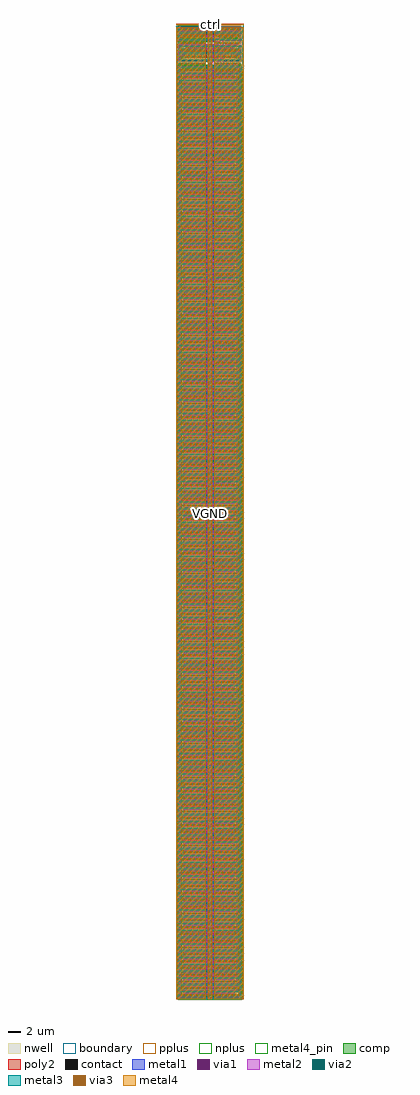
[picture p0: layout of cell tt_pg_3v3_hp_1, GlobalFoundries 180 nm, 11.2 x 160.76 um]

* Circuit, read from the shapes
.subckt tt_pg_3v3_hp_1 GPWR VGND VPWR ctrl
XM1 n1 n2 VGND VGND nfet_03v3 w=0.99u l=0.6u
XM2 n3 n2 n1 VGND nfet_03v3 w=0.99u l=0.6u
XM3 n4 n2 n3 VGND nfet_03v3 w=0.99u l=0.6u
XM4 GPWR n2 n4 VGND nfet_03v3 w=0.99u l=0.6u
XM5 n5 n2 GPWR VGND nfet_03v3 w=0.99u l=0.6u
XM6 n6 n2 n5 VGND nfet_03v3 w=0.99u l=0.6u
XM7 VGND ctrl n2 VGND nfet_03v3 w=2.75u l=0.28u
XM8 n7 n2 n6 VGND nfet_03v3 w=0.99u l=0.6u
XM9 VGND n2 n7 VGND nfet_03v3 w=0.99u l=0.6u
XM10 VPWR n2 GPWR VPWR pfet_03v3 w=8.5u l=0.28u m=190
XM11 VPWR ctrl n2 VPWR pfet_03v3 w=5.17u l=0.28u
.ends

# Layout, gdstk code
import gdstk
lib = gdstk.Library(unit=1e-6, precision=1e-09)
def R(c, l, rs):  # rectangles x0, y0, x1, y1
    for r in rs: c.add(gdstk.rectangle(r[:2], r[2:], *l))
def A(c, l, x, y, w, h, nx, ny, dx, dy):  # array of equal rectangles
    R(c, l, [(x+i*dx, y+j*dy, x+i*dx+w, y+j*dy+h) for i in range(nx) for j in range(ny)])
def P(c, l, *ps):  # polygons
    for p in ps: c.add(gdstk.Polygon(p, *l))
boundary = (0, 0)
nwell = (21, 0)
comp = (22, 0)
poly2 = (30, 0)
pplus = (31, 0)
nplus = (32, 0)
contact = (33, 0)
metal1 = (34, 0)
via1 = (35, 0)
metal2 = (36, 0)
via2 = (38, 0)
via3 = (40, 0)
metal3 = (42, 0)
metal4 = (46, 0)
metal4_pin = (46, 10)

tt_pg_3v3_hp_1 = lib.new_cell('tt_pg_3v3_hp_1')
R(tt_pg_3v3_hp_1, boundary, [(0,0,11.2,160.72)])
R(tt_pg_3v3_hp_1, nwell, [(0.35,0,10.85,153.88), (0.35,157.685,6.81,160.37)])
R(tt_pg_3v3_hp_1, comp, [(0.47,0.12,10.73,0.48), (0.47,0.48,0.83,153.4), (10.37,0.48,10.73,153.4), (1.21,0.76,9.71,153.12), (0.47,153.4,10.73,153.76), (0.47,154.455,10.73,154.815), (0.47,154.815,0.83,156.845), (10.37,154.815,10.73,156.845), (1.11,155.145,1.47,155.195), (9.73,155.145,10.09,155.195), (1.11,155.195,10.09,156.185), (1.11,156.185,1.47,156.515), (9.73,156.185,10.09,156.515), (0.47,156.845,10.73,157.205), (0.47,157.805,6.38,158.165), (7.24,157.805,10.73,158.165), (0.47,158.165,0.83,159.885), (10.37,158.165,10.73,159.885), (1.21,158.445,6.38,159.605), (7.24,158.445,9.99,159.605), (0.47,159.885,6.38,160.245), (7.24,159.885,10.73,160.245)])
A(tt_pg_3v3_hp_1, poly2, 0.99, 1.2, 9.22, 0.28, 1, 190, 0, 0.8)
A(tt_pg_3v3_hp_1, poly2, 9.85, 1.48, 0.36, 0.52, 1, 189, 0, 0.8)
R(tt_pg_3v3_hp_1, poly2, [(1.585,154.975,2.185,156.325), (2.535,154.975,3.135,156.325), (3.535,154.975,4.135,156.325), (4.485,154.975,5.085,156.325), (6.115,154.975,6.715,156.325), (7.065,154.975,7.665,156.325), (8.065,154.975,8.665,156.325), (9.015,154.975,9.615,156.325), (1.585,156.325,5.085,156.685), (6.115,156.325,9.615,156.685), (6.63,158.61,6.99,158.885), (0.99,158.885,10.21,159.165), (6.63,159.165,6.99,159.44)])
R(tt_pg_3v3_hp_1, pplus, [(1.05,0.6,9.87,0.97), (0.98,0.97,9.94,152.91), (1.05,152.91,9.87,153.28), (0.975,154.425,10.225,154.435), (0.45,154.435,10.75,154.845), (0.45,154.845,0.86,154.87), (10.34,154.845,10.75,154.87), (0.44,154.87,0.86,156.79), (10.34,154.87,10.76,156.79), (0.45,156.79,0.86,156.815), (10.34,156.79,10.75,156.815), (0.45,156.815,10.75,157.225), (0.975,157.225,10.225,157.235), (7.21,157.775,10.225,157.785), (7.21,157.785,10.75,158.195), (10.34,158.195,10.75,158.22), (10.34,158.22,10.76,159.83), (1.05,158.285,6.54,158.655), (0.98,158.655,6.61,159.395), (1.05,159.395,6.54,159.765), (10.34,159.83,10.75,159.855), (7.21,159.855,10.75,160.265), (7.21,160.265,10.225,160.275)])
R(tt_pg_3v3_hp_1, nplus, [(0.31,-0.04,10.89,0.59), (0.31,0.59,0.94,153.29), (10.26,0.59,10.89,153.29), (0.31,153.29,10.89,153.92), (1.355,154.965,5.315,154.985), (5.885,154.965,9.845,154.985), (0.95,154.985,5.315,155.035), (5.885,154.985,10.25,155.035), (0.95,155.035,10.25,156.345), (0.95,156.345,5.315,156.415), (5.885,156.345,10.25,156.415), (0.95,156.415,1.63,156.675), (9.57,156.415,10.25,156.675), (0.31,157.645,6.54,158.275), (0.31,158.275,0.94,159.78), (7.08,158.285,10.15,158.655), (7.01,158.655,10.22,159.395), (7.08,159.395,10.15,159.765), (0.31,159.78,6.54,160.405)])
A(tt_pg_3v3_hp_1, contact, 1.025, 0.19, 0.22, 0.22, 20, 2, 0.47, 153.28)
A(tt_pg_3v3_hp_1, contact, 0.54, 0.69, 0.22, 0.22, 1, 325, 0, 0.47)
A(tt_pg_3v3_hp_1, contact, 10.44, 0.69, 0.22, 0.22, 1, 325, 0, 0.47)
A(tt_pg_3v3_hp_1, contact, 1.32, 0.83, 0.22, 0.22, 18, 191, 0.47, 0.8)
A(tt_pg_3v3_hp_1, contact, 9.92, 1.395, 0.22, 0.22, 1, 322, 0, 0.47)
A(tt_pg_3v3_hp_1, contact, 1.26, 154.525, 0.22, 0.22, 19, 2, 0.47, 2.39)
A(tt_pg_3v3_hp_1, contact, 0.54, 155.015, 0.22, 0.22, 1, 4, 0, 0.47)
A(tt_pg_3v3_hp_1, contact, 10.44, 155.015, 0.22, 0.22, 1, 4, 0, 0.47)
A(tt_pg_3v3_hp_1, contact, 1.18, 155.235, 0.22, 0.22, 1, 3, 0, 0.47)
A(tt_pg_3v3_hp_1, contact, 9.8, 155.235, 0.22, 0.22, 1, 3, 0, 0.47)
A(tt_pg_3v3_hp_1, contact, 1.815, 156.395, 0.22, 0.22, 7, 1, 0.47, 0)
A(tt_pg_3v3_hp_1, contact, 6.345, 156.395, 0.22, 0.22, 7, 1, 0.47, 0)
A(tt_pg_3v3_hp_1, contact, 1.235, 157.875, 0.22, 0.22, 11, 2, 0.47, 2.08)
A(tt_pg_3v3_hp_1, contact, 7.43, 157.875, 0.22, 0.22, 6, 2, 0.47, 2.08)
A(tt_pg_3v3_hp_1, contact, 0.54, 158.445, 0.22, 0.22, 1, 3, 0, 0.47)
A(tt_pg_3v3_hp_1, contact, 10.44, 158.445, 0.22, 0.22, 1, 3, 0, 0.47)
A(tt_pg_3v3_hp_1, contact, 1.335, 158.515, 0.22, 0.22, 11, 2, 0.47, 0.8)
A(tt_pg_3v3_hp_1, contact, 7.33, 158.515, 0.22, 0.22, 6, 2, 0.47, 0.8)
R(tt_pg_3v3_hp_1, contact, [(5.255,155.345,5.475,155.565), (5.725,155.345,5.945,155.565), (5.255,155.815,5.475,156.035), (5.725,155.815,5.945,156.035), (6.7,158.68,6.92,158.9), (6.7,159.15,6.92,159.37)])
A(tt_pg_3v3_hp_1, metal1, 1.22, 0.825, 8.415, 0.23, 1, 191, 0, 0.8)
R(tt_pg_3v3_hp_1, metal1, [(0.52,0.185,10.665,0.415), (0.52,0.415,0.78,153.465), (10.435,0.415,10.665,153.465), (5.595,0.81,9.615,0.825), (5.595,1.055,9.615,1.07), (9.915,1.29,10.175,152.59), (1.24,1.61,5.26,1.625), (1.24,1.855,5.26,1.87), (5.595,2.41,9.615,2.425), (5.595,2.655,9.615,2.67), (1.24,3.21,5.26,3.225), (1.24,3.455,5.26,3.47), (5.595,4.01,9.615,4.025), (5.595,4.255,9.615,4.27), (1.24,4.81,5.26,4.825), (1.24,5.055,5.26,5.07), (5.595,5.61,9.615,5.625), (5.595,5.855,9.615,5.87), (1.24,6.41,5.26,6.425), (1.24,6.655,5.26,6.67), (5.595,7.21,9.615,7.225), (5.595,7.455,9.615,7.47), (1.24,8.01,5.26,8.025), (1.24,8.255,5.26,8.27), (5.595,8.81,9.615,8.825), (5.595,9.055,9.615,9.07), (1.24,9.61,5.26,9.625), (1.24,9.855,5.26,9.87), (5.595,10.41,9.615,10.425), (5.595,10.655,9.615,10.67), (1.24,11.21,5.26,11.225), (1.24,11.455,5.26,11.47), (5.595,12.01,9.615,12.025), (5.595,12.255,9.615,12.27), (1.24,12.81,5.26,12.825), (1.24,13.055,5.26,13.07), (5.595,13.61,9.615,13.625), (5.595,13.855,9.615,13.87), (1.24,14.41,5.26,14.425), (1.24,14.655,5.26,14.67), (5.595,15.21,9.615,15.225), (5.595,15.455,9.615,15.47), (1.24,16.01,5.26,16.025), (1.24,16.255,5.26,16.27), (5.595,16.81,9.615,16.825), (5.595,17.055,9.615,17.07), (1.24,17.61,5.26,17.625), (1.24,17.855,5.26,17.87), (5.595,18.41,9.615,18.425), (5.595,18.655,9.615,18.67), (1.24,19.21,5.26,19.225), (1.24,19.455,5.26,19.47), (5.595,20.01,9.615,20.025), (5.595,20.255,9.615,20.27), (1.24,20.81,5.26,20.825), (1.24,21.055,5.26,21.07), (5.595,21.61,9.615,21.625), (5.595,21.855,9.615,21.87), (1.24,22.41,5.26,22.425), (1.24,22.655,5.26,22.67), (5.595,23.21,9.615,23.225), (5.595,23.455,9.615,23.47), (1.24,24.01,5.26,24.025), (1.24,24.255,5.26,24.27), (5.595,24.81,9.615,24.825), (5.595,25.055,9.615,25.07), (1.24,25.61,5.26,25.625), (1.24,25.855,5.26,25.87), (5.595,26.41,9.615,26.425), (5.595,26.655,9.615,26.67), (1.24,27.21,5.26,27.225), (1.24,27.455,5.26,27.47), (5.595,28.01,9.615,28.025), (5.595,28.255,9.615,28.27), (1.24,28.81,5.26,28.825), (1.24,29.055,5.26,29.07), (5.595,29.61,9.615,29.625), (5.595,29.855,9.615,29.87), (1.24,30.41,5.26,30.425), (1.24,30.655,5.26,30.67), (5.595,31.21,9.615,31.225), (5.595,31.455,9.615,31.47), (1.24,32.01,5.26,32.025), (1.24,32.255,5.26,32.27), (5.595,32.81,9.615,32.825), (5.595,33.055,9.615,33.07), (1.24,33.61,5.26,33.625), (1.24,33.855,5.26,33.87), (5.595,34.41,9.615,34.425), (5.595,34.655,9.615,34.67), (1.24,35.21,5.26,35.225), (1.24,35.455,5.26,35.47), (5.595,36.01,9.615,36.025), (5.595,36.255,9.615,36.27), (1.24,36.81,5.26,36.825), (1.24,37.055,5.26,37.07), (5.595,37.61,9.615,37.625), (5.595,37.855,9.615,37.87), (1.24,38.41,5.26,38.425), (1.24,38.655,5.26,38.67), (5.595,39.21,9.615,39.225), (5.595,39.455,9.615,39.47), (1.24,40.01,5.26,40.025), (1.24,40.255,5.26,40.27), (5.595,40.81,9.615,40.825), (5.595,41.055,9.615,41.07), (1.24,41.61,5.26,41.625), (1.24,41.855,5.26,41.87), (5.595,42.41,9.615,42.425), (5.595,42.655,9.615,42.67), (1.24,43.21,5.26,43.225), (1.24,43.455,5.26,43.47), (5.595,44.01,9.615,44.025), (5.595,44.255,9.615,44.27), (1.24,44.81,5.26,44.825), (1.24,45.055,5.26,45.07), (5.595,45.61,9.615,45.625), (5.595,45.855,9.615,45.87), (1.24,46.41,5.26,46.425), (1.24,46.655,5.26,46.67), (5.595,47.21,9.615,47.225), (5.595,47.455,9.615,47.47), (1.24,48.01,5.26,48.025), (1.24,48.255,5.26,48.27), (5.595,48.81,9.615,48.825), (5.595,49.055,9.615,49.07), (1.24,49.61,5.26,49.625), (1.24,49.855,5.26,49.87), (5.595,50.41,9.615,50.425), (5.595,50.655,9.615,50.67), (1.24,51.21,5.26,51.225), (1.24,51.455,5.26,51.47), (5.595,52.01,9.615,52.025), (5.595,52.255,9.615,52.27), (1.24,52.81,5.26,52.825), (1.24,53.055,5.26,53.07), (5.595,53.61,9.615,53.625), (5.595,53.855,9.615,53.87), (1.24,54.41,5.26,54.425), (1.24,54.655,5.26,54.67), (5.595,55.21,9.615,55.225), (5.595,55.455,9.615,55.47), (1.24,56.01,5.26,56.025), (1.24,56.255,5.26,56.27), (5.595,56.81,9.615,56.825), (5.595,57.055,9.615,57.07), (1.24,57.61,5.26,57.625), (1.24,57.855,5.26,57.87), (5.595,58.41,9.615,58.425), (5.595,58.655,9.615,58.67), (1.24,59.21,5.26,59.225), (1.24,59.455,5.26,59.47), (5.595,60.01,9.615,60.025), (5.595,60.255,9.615,60.27), (1.24,60.81,5.26,60.825), (1.24,61.055,5.26,61.07), (5.595,61.61,9.615,61.625), (5.595,61.855,9.615,61.87), (1.24,62.41,5.26,62.425), (1.24,62.655,5.26,62.67), (5.595,63.21,9.615,63.225), (5.595,63.455,9.615,63.47), (1.24,64.01,5.26,64.025), (1.24,64.255,5.26,64.27), (5.595,64.81,9.615,64.825), (5.595,65.055,9.615,65.07), (1.24,65.61,5.26,65.625), (1.24,65.855,5.26,65.87), (5.595,66.41,9.615,66.425), (5.595,66.655,9.615,66.67), (1.24,67.21,5.26,67.225), (1.24,67.455,5.26,67.47), (5.595,68.01,9.615,68.025), (5.595,68.255,9.615,68.27), (1.24,68.81,5.26,68.825), (1.24,69.055,5.26,69.07), (5.595,69.61,9.615,69.625), (5.595,69.855,9.615,69.87), (1.24,70.41,5.26,70.425), (1.24,70.655,5.26,70.67), (5.595,71.21,9.615,71.225), (5.595,71.455,9.615,71.47), (1.24,72.01,5.26,72.025), (1.24,72.255,5.26,72.27), (5.595,72.81,9.615,72.825), (5.595,73.055,9.615,73.07), (1.24,73.61,5.26,73.625), (1.24,73.855,5.26,73.87), (5.595,74.41,9.615,74.425), (5.595,74.655,9.615,74.67), (1.24,75.21,5.26,75.225), (1.24,75.455,5.26,75.47), (5.595,76.01,9.615,76.025), (5.595,76.255,9.615,76.27), (1.24,76.81,5.26,76.825), (1.24,77.055,5.26,77.07), (5.595,77.61,9.615,77.625), (5.595,77.855,9.615,77.87), (1.24,78.41,5.26,78.425), (1.24,78.655,5.26,78.67), (5.595,79.21,9.615,79.225), (5.595,79.455,9.615,79.47), (1.24,80.01,5.26,80.025), (1.24,80.255,5.26,80.27), (5.595,80.81,9.615,80.825), (5.595,81.055,9.615,81.07), (1.24,81.61,5.26,81.625), (1.24,81.855,5.26,81.87), (5.595,82.41,9.615,82.425), (5.595,82.655,9.615,82.67), (1.24,83.21,5.26,83.225), (1.24,83.455,5.26,83.47), (5.595,84.01,9.615,84.025), (5.595,84.255,9.615,84.27), (1.24,84.81,5.26,84.825), (1.24,85.055,5.26,85.07), (5.595,85.61,9.615,85.625), (5.595,85.855,9.615,85.87), (1.24,86.41,5.26,86.425), (1.24,86.655,5.26,86.67), (5.595,87.21,9.615,87.225), (5.595,87.455,9.615,87.47), (1.24,88.01,5.26,88.025), (1.24,88.255,5.26,88.27), (5.595,88.81,9.615,88.825), (5.595,89.055,9.615,89.07), (1.24,89.61,5.26,89.625), (1.24,89.855,5.26,89.87), (5.595,90.41,9.615,90.425), (5.595,90.655,9.615,90.67), (1.24,91.21,5.26,91.225), (1.24,91.455,5.26,91.47), (5.595,92.01,9.615,92.025), (5.595,92.255,9.615,92.27), (1.24,92.81,5.26,92.825), (1.24,93.055,5.26,93.07), (5.595,93.61,9.615,93.625), (5.595,93.855,9.615,93.87), (1.24,94.41,5.26,94.425), (1.24,94.655,5.26,94.67), (5.595,95.21,9.615,95.225), (5.595,95.455,9.615,95.47), (1.24,96.01,5.26,96.025), (1.24,96.255,5.26,96.27), (5.595,96.81,9.615,96.825), (5.595,97.055,9.615,97.07), (1.24,97.61,5.26,97.625), (1.24,97.855,5.26,97.87), (5.595,98.41,9.615,98.425), (5.595,98.655,9.615,98.67), (1.24,99.21,5.26,99.225), (1.24,99.455,5.26,99.47), (5.595,100.01,9.615,100.025), (5.595,100.255,9.615,100.27), (1.24,100.81,5.26,100.825), (1.24,101.055,5.26,101.07), (5.595,101.61,9.615,101.625), (5.595,101.855,9.615,101.87), (1.24,102.41,5.26,102.425), (1.24,102.655,5.26,102.67), (5.595,103.21,9.615,103.225), (5.595,103.455,9.615,103.47), (1.24,104.01,5.26,104.025), (1.24,104.255,5.26,104.27), (5.595,104.81,9.615,104.825), (5.595,105.055,9.615,105.07), (1.24,105.61,5.26,105.625), (1.24,105.855,5.26,105.87), (5.595,106.41,9.615,106.425), (5.595,106.655,9.615,106.67), (1.24,107.21,5.26,107.225), (1.24,107.455,5.26,107.47), (5.595,108.01,9.615,108.025), (5.595,108.255,9.615,108.27), (1.24,108.81,5.26,108.825), (1.24,109.055,5.26,109.07), (5.595,109.61,9.615,109.625), (5.595,109.855,9.615,109.87), (1.24,110.41,5.26,110.425), (1.24,110.655,5.26,110.67), (5.595,111.21,9.615,111.225), (5.595,111.455,9.615,111.47), (1.24,112.01,5.26,112.025), (1.24,112.255,5.26,112.27), (5.595,112.81,9.615,112.825), (5.595,113.055,9.615,113.07), (1.24,113.61,5.26,113.625), (1.24,113.855,5.26,113.87), (5.595,114.41,9.615,114.425), (5.595,114.655,9.615,114.67), (1.24,115.21,5.26,115.225), (1.24,115.455,5.26,115.47), (5.595,116.01,9.615,116.025), (5.595,116.255,9.615,116.27), (1.24,116.81,5.26,116.825), (1.24,117.055,5.26,117.07), (5.595,117.61,9.615,117.625), (5.595,117.855,9.615,117.87), (1.24,118.41,5.26,118.425), (1.24,118.655,5.26,118.67), (5.595,119.21,9.615,119.225), (5.595,119.455,9.615,119.47), (1.24,120.01,5.26,120.025), (1.24,120.255,5.26,120.27), (5.595,120.81,9.615,120.825), (5.595,121.055,9.615,121.07), (1.24,121.61,5.26,121.625), (1.24,121.855,5.26,121.87), (5.595,122.41,9.615,122.425), (5.595,122.655,9.615,122.67), (1.24,123.21,5.26,123.225), (1.24,123.455,5.26,123.47), (5.595,124.01,9.615,124.025), (5.595,124.255,9.615,124.27), (1.24,124.81,5.26,124.825), (1.24,125.055,5.26,125.07), (5.595,125.61,9.615,125.625), (5.595,125.855,9.615,125.87), (1.24,126.41,5.26,126.425), (1.24,126.655,5.26,126.67), (5.595,127.21,9.615,127.225), (5.595,127.455,9.615,127.47), (1.24,128.01,5.26,128.025), (1.24,128.255,5.26,128.27), (5.595,128.81,9.615,128.825), (5.595,129.055,9.615,129.07), (1.24,129.61,5.26,129.625), (1.24,129.855,5.26,129.87), (5.595,130.41,9.615,130.425), (5.595,130.655,9.615,130.67), (1.24,131.21,5.26,131.225), (1.24,131.455,5.26,131.47), (5.595,132.01,9.615,132.025), (5.595,132.255,9.615,132.27), (1.24,132.81,5.26,132.825), (1.24,133.055,5.26,133.07), (5.595,133.61,9.615,133.625), (5.595,133.855,9.615,133.87), (1.24,134.41,5.26,134.425), (1.24,134.655,5.26,134.67), (5.595,135.21,9.615,135.225), (5.595,135.455,9.615,135.47), (1.24,136.01,5.26,136.025), (1.24,136.255,5.26,136.27), (5.595,136.81,9.615,136.825), (5.595,137.055,9.615,137.07), (1.24,137.61,5.26,137.625), (1.24,137.855,5.26,137.87), (5.595,138.41,9.615,138.425), (5.595,138.655,9.615,138.67), (1.24,139.21,5.26,139.225), (1.24,139.455,5.26,139.47), (5.595,140.01,9.615,140.025), (5.595,140.255,9.615,140.27), (1.24,140.81,5.26,140.825), (1.24,141.055,5.26,141.07), (5.595,141.61,9.615,141.625), (5.595,141.855,9.615,141.87), (1.24,142.41,5.26,142.425), (1.24,142.655,5.26,142.67), (5.595,143.21,9.615,143.225), (5.595,143.455,9.615,143.47), (1.24,144.01,5.26,144.025), (1.24,144.255,5.26,144.27), (5.595,144.81,9.615,144.825), (5.595,145.055,9.615,145.07), (1.24,145.61,5.26,145.625), (1.24,145.855,5.26,145.87), (5.595,146.41,9.615,146.425), (5.595,146.655,9.615,146.67), (1.24,147.21,5.26,147.225), (1.24,147.455,5.26,147.47), (5.595,148.01,9.615,148.025), (5.595,148.255,9.615,148.27), (1.24,148.81,5.26,148.825), (1.24,149.055,5.26,149.07), (5.595,149.61,9.615,149.625), (5.595,149.855,9.615,149.87), (1.24,150.41,5.26,150.425), (1.24,150.655,5.26,150.67), (5.595,151.21,9.615,151.225), (5.595,151.455,9.615,151.47), (1.24,152.01,5.26,152.025), (1.24,152.255,5.26,152.27), (5.595,152.81,9.615,152.825), (5.595,153.055,9.615,153.07), (0.52,153.465,10.665,153.695), (0.52,154.52,10.68,154.75), (0.52,154.75,0.78,155.155), (10.42,154.75,10.68,155.155), (0.52,155.155,1.405,156.475), (9.795,155.155,10.68,156.475), (5.25,155.205,6.95,156.065), (5.25,156.065,5.95,156.175), (1.68,156.375,4.99,156.635), (6.21,156.375,9.52,156.635), (0.52,156.475,0.78,156.91), (10.42,156.475,10.68,156.91), (0.52,156.91,10.68,157.23), (0.52,157.87,6.37,158.1), (7.25,157.87,10.68,158.1), (0.52,158.1,0.78,159.295), (10.42,158.1,10.68,159.295), (1.22,158.495,6.37,158.755), (7.25,158.495,9.98,158.755), (6.68,158.575,6.94,159.475), (0.52,159.295,6.37,159.555), (7.25,159.295,10.68,159.555), (0.52,159.555,0.78,159.95), (10.42,159.555,10.68,159.95), (0.52,159.95,6.37,160.18), (7.25,159.95,10.68,160.18)])
A(tt_pg_3v3_hp_1, via1, 0.52, 0.37, 0.26, 0.26, 1, 295, 0, 0.52)
A(tt_pg_3v3_hp_1, via1, 5.655, 0.81, 0.26, 0.26, 8, 96, 0.52, 1.6)
A(tt_pg_3v3_hp_1, via1, 9.915, 1.41, 0.26, 0.26, 1, 291, 0, 0.52)
A(tt_pg_3v3_hp_1, via1, 1.3, 1.61, 0.26, 0.26, 8, 95, 0.52, 1.6)
A(tt_pg_3v3_hp_1, via1, 0.52, 154.66, 0.26, 0.26, 1, 5, 0, 0.52)
A(tt_pg_3v3_hp_1, via1, 10.42, 154.66, 0.26, 0.26, 1, 5, 0, 0.52)
A(tt_pg_3v3_hp_1, via1, 5.45, 155.245, 0.26, 0.26, 3, 2, 0.52, 0.52)
A(tt_pg_3v3_hp_1, via1, 1.905, 156.375, 0.26, 0.26, 6, 1, 0.52, 0)
A(tt_pg_3v3_hp_1, via1, 6.435, 156.375, 0.26, 0.26, 6, 1, 0.52, 0)
A(tt_pg_3v3_hp_1, via1, 1.23, 156.97, 0.26, 0.26, 11, 1, 0.52, 0)
A(tt_pg_3v3_hp_1, via1, 8.275, 156.97, 0.26, 0.26, 4, 1, 0.52, 0)
A(tt_pg_3v3_hp_1, via1, 0.52, 158.115, 0.26, 0.26, 1, 4, 0, 0.52)
A(tt_pg_3v3_hp_1, via1, 10.42, 158.115, 0.26, 0.26, 1, 4, 0, 0.52)
A(tt_pg_3v3_hp_1, via1, 1.325, 158.495, 0.26, 0.26, 10, 1, 0.52, 0)
A(tt_pg_3v3_hp_1, via1, 7.445, 158.495, 0.26, 0.26, 5, 1, 0.52, 0)
A(tt_pg_3v3_hp_1, via1, 1.205, 159.295, 0.26, 0.26, 10, 1, 0.52, 0)
A(tt_pg_3v3_hp_1, via1, 7.565, 159.295, 0.26, 0.26, 5, 1, 0.52, 0)
R(tt_pg_3v3_hp_1, via1, [(1.11,155.425,1.37,155.685), (9.83,155.425,10.09,155.685), (1.11,155.945,1.37,156.205), (9.83,155.945,10.09,156.205), (6.68,158.635,6.94,158.895), (6.68,159.155,6.94,159.415)])
R(tt_pg_3v3_hp_1, metal2, [(0,0.185,0.79,153.695), (1.24,0.8,5.26,153.08), (5.595,0.8,9.615,153.08), (9.905,1.29,10.185,153.38), (5.595,153.08,6.95,155.205), (7.25,153.38,10.185,153.98), (7.25,153.98,7.85,156.365), (0.39,154.52,0.79,155.155), (10.41,154.52,11.2,155.155), (0.39,155.155,1.38,156.475), (9.82,155.155,11.2,156.475), (5.25,155.205,6.95,156.065), (1.68,156.365,9.52,156.645), (0.39,156.475,0.79,156.96), (10.41,156.475,11.2,156.96), (7.25,156.645,7.85,157.675), (0.39,156.96,6.95,157.36), (8.15,156.96,11.2,157.36), (10.41,157.36,11.2,159.285), (5.77,157.675,7.85,158.275), (0,157.87,0.79,159.285), (5.77,158.275,6.37,158.485), (7.25,158.275,7.85,158.485), (1.22,158.485,6.37,158.765), (7.25,158.485,9.98,158.765), (6.67,158.575,6.95,160.12), (0,159.285,6.37,159.565), (7.25,159.285,11.2,159.565), (0,159.565,0.79,160.18), (10.41,159.565,11.2,160.18), (6.4,160.12,7.22,160.18), (6.34,160.18,7.22,160.42), (6.1,160.42,7.52,160.72)])
P(tt_pg_3v3_hp_1, metal2, [(6.1,160.42),(6.34,160.42),(6.34,160.18)],
  [(6.34,160.18),(6.4,160.18),(6.4,160.12)],
  [(7.22,160.12),(7.22,160.42),(7.52,160.42)],
  [(6.4,160.12),(6.67,160.12),(6.67,159.85)],
  [(6.95,159.85),(6.95,160.12),(7.22,160.12)])
A(tt_pg_3v3_hp_1, via2, 0.01, 0.37, 0.26, 0.26, 1, 295, 0, 0.52)
A(tt_pg_3v3_hp_1, via2, 1.365, 1.69, 0.26, 0.26, 7, 135, 0.52, 1.12)
A(tt_pg_3v3_hp_1, via2, 6.54, 1.69, 0.26, 0.26, 6, 135, 0.52, 1.12)
A(tt_pg_3v3_hp_1, via2, 10.93, 154.62, 0.26, 0.26, 1, 11, 0, 0.52)
A(tt_pg_3v3_hp_1, via2, 0.01, 158.115, 0.26, 0.26, 1, 4, 0, 0.52)
A(tt_pg_3v3_hp_1, via2, 6.16, 160.44, 0.26, 0.26, 3, 1, 0.52, 0)
A(tt_pg_3v3_hp_1, via3, 0.01, 0.11, 0.26, 0.26, 1, 308, 0, 0.52)
A(tt_pg_3v3_hp_1, via3, 5.21, 0.11, 0.26, 0.26, 1, 308, 0, 0.52)
A(tt_pg_3v3_hp_1, via3, 5.73, 0.11, 0.26, 0.26, 1, 308, 0, 0.52)
A(tt_pg_3v3_hp_1, via3, 10.93, 0.27, 0.26, 0.26, 1, 294, 0, 0.52)
A(tt_pg_3v3_hp_1, via3, 0.745, 0.57, 0.26, 0.26, 8, 143, 0.52, 1.12)
A(tt_pg_3v3_hp_1, via3, 6.555, 0.57, 0.26, 0.26, 8, 137, 0.52, 1.12)
A(tt_pg_3v3_hp_1, via3, 6.51, 154.01, 0.26, 0.26, 8, 6, 0.52, 1.12)
A(tt_pg_3v3_hp_1, via3, 6.16, 160.44, 0.26, 0.26, 3, 1, 0.52, 0)
A(tt_pg_3v3_hp_1, metal3, 0.56, 0, 10.08, 0.28, 1, 137, 0, 1.12)
A(tt_pg_3v3_hp_1, metal3, 5.2, 0.28, 0.8, 0.84, 1, 142, 0, 1.12)
A(tt_pg_3v3_hp_1, metal3, 0, 0.56, 4.92, 0.28, 1, 143, 0, 1.12)
A(tt_pg_3v3_hp_1, metal3, 6.28, 0.56, 4.92, 0.28, 1, 137, 0, 1.12)
A(tt_pg_3v3_hp_1, metal3, 0, 0.84, 0.28, 0.84, 1, 142, 0, 1.12)
A(tt_pg_3v3_hp_1, metal3, 10.92, 0.84, 0.28, 0.84, 1, 136, 0, 1.12)
A(tt_pg_3v3_hp_1, metal3, 0.56, 153.44, 10.64, 0.28, 1, 6, 0, 1.12)
A(tt_pg_3v3_hp_1, metal3, 10.92, 153.72, 0.28, 0.84, 1, 5, 0, 1.12)
A(tt_pg_3v3_hp_1, metal3, 6.28, 154, 4.36, 0.28, 1, 6, 0, 1.12)
R(tt_pg_3v3_hp_1, metal3, [(0,0,0.28,0.56), (10.92,0,11.2,0.56), (5.2,159.32,6,160.12), (10.92,159.32,11.2,160.18), (0,159.88,0.28,160.18), (6.1,160.42,7.52,160.72)])
R(tt_pg_3v3_hp_1, metal4, [(0,0,4.9,160.12), (5.2,0,6,160.12), (6.3,0,11.2,160.12), (0,160.42,11.2,160.72)])
R(tt_pg_3v3_hp_1, metal4_pin, [(0,0,4.9,160.12), (5.2,0,6,160.12), (6.3,0,11.2,160.12), (0,160.42,11.2,160.72)])
tt_pg_3v3_hp_1.add(gdstk.Label('VGND', (5.6,80.06), layer=46, texttype=10))
tt_pg_3v3_hp_1.add(gdstk.Label('VPWR', (2.45,80.06), layer=46, texttype=10))
tt_pg_3v3_hp_1.add(gdstk.Label('GPWR', (8.75,80.06), layer=46, texttype=10))
tt_pg_3v3_hp_1.add(gdstk.Label('ctrl', (5.6,160.57), layer=46, texttype=10))

lib.write_gds('tt_pg_3v3_hp_1.gds')
